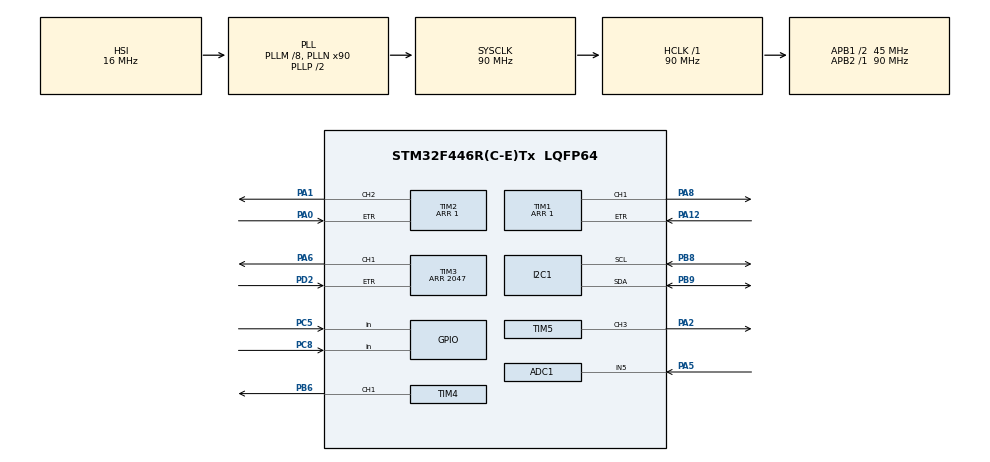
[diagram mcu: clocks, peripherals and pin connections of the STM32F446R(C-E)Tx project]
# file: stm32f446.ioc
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ADC1.Channel-2\#ChannelRegularConversion=ADC_CHANNEL_5
ADC1.NbrOfConversionFlag=1
ADC1.Rank-2\#ChannelRegularConversion=1
ADC1.SamplingTime-2\#ChannelRegularConversion=ADC_SAMPLETIME_84CYCLES
ADC1.master=1
Mcu.Family=STM32F4
Mcu.Name=STM32F446R(C-E)Tx
Mcu.Package=LQFP64
NVIC.ADC_IRQn=true\:1\:0\:true\:false\:true\:true\:true\:true
NVIC.PriorityGroup=NVIC_PRIORITYGROUP_4
PA0-WKUP.Signal=S_TIM2_CH1_ETR
PA1.Signal=S_TIM2_CH2
PA12.Signal=S_TIM1_ETR
PA13.Mode=Serial_Wire
PA13.Signal=SYS_JTMS-SWDIO
PA14.Mode=Serial_Wire
PA14.Signal=SYS_JTCK-SWCLK
PA2.Signal=S_TIM5_CH3
PA5.Signal=ADCx_IN5
PA6.Signal=S_TIM3_CH1
PA8.Signal=S_TIM1_CH1
PB6.Signal=S_TIM4_CH1
PB8.GPIO_Pu=GPIO_PULLUP
PB8.Mode=I2C
PB8.Signal=I2C1_SCL
PB9.GPIO_Pu=GPIO_PULLUP
PB9.Mode=I2C
PB9.Signal=I2C1_SDA
PC5.GPIO_PuPd=GPIO_PULLUP
PC5.Signal=GPIO_Input
PC8.GPIO_PuPd=GPIO_PULLUP
PC8.Signal=GPIO_Input
PD2.Signal=S_TIM3_ETR
ProjectManager.HeapSize=0x200
ProjectManager.StackSize=0x400
ProjectManager.TargetToolchain=MDK-ARM V5
RCC.AHBFreq_Value=90000000
RCC.APB1CLKDivider=RCC_HCLK_DIV2
RCC.APB1Freq_Value=45000000
RCC.APB1TimFreq_Value=90000000
RCC.APB2Freq_Value=90000000
RCC.APB2TimFreq_Value=90000000
RCC.CortexFreq_Value=90000000
RCC.HCLKFreq_Value=90000000
RCC.PLLM=8
RCC.PLLN=90
RCC.SYSCLKFreq_VALUE=90000000
RCC.SYSCLKSource=RCC_SYSCLKSOURCE_PLLCLK
RCC.USBFreq_Value=90000000
RCC.VCOOutputFreq_Value=180000000
SH.ADCx_IN5.0=ADC1_IN5,IN5
SH.S_TIM1_CH1.0=TIM1_CH1,PWM Generation1 CH1
SH.S_TIM1_ETR.0=TIM1_ETR,ClockSourceETR_Mode2
SH.S_TIM2_CH1_ETR.0=TIM2_ETR,ClockSourceETR_Mode2
SH.S_TIM2_CH2.0=TIM2_CH2,PWM Generation2 CH2
SH.S_TIM3_CH1.0=TIM3_CH1,PWM Generation1 CH1
SH.S_TIM3_ETR.0=TIM3_ETR,ClockSourceETR_Mode2
SH.S_TIM4_CH1.0=TIM4_CH1,PWM Generation1 CH1
SH.S_TIM5_CH3.0=TIM5_CH3,PWM Generation3 CH3
TIM1.AutoReloadPreload=TIM_AUTORELOAD_PRELOAD_ENABLE
TIM1.Channel-PWM\ Generation1\ CH1=TIM_CHANNEL_1
TIM1.Channel-PWM\ Generation2\ CH2=TIM_CHANNEL_2
TIM1.ClockPolarity=TIM_CLOCKPOLARITY_INVERTED
TIM1.Period=1
TIM1.Pulse-PWM\ Generation1\ CH1=1
TIM2.AutoReloadPreload=TIM_AUTORELOAD_PRELOAD_ENABLE
TIM2.Channel-PWM\ Generation2\ CH2=TIM_CHANNEL_2
TIM2.Period=1
TIM2.Pulse-PWM\ Generation2\ CH2=1
TIM3.AutoReloadPreload=TIM_AUTORELOAD_PRELOAD_ENABLE
TIM3.Channel-PWM\ Generation1\ CH1=TIM_CHANNEL_1
TIM3.Period=2047
TIM3.Pulse-PWM\ Generation1\ CH1=2
TIM4.AutoReloadPreload=TIM_AUTORELOAD_PRELOAD_ENABLE
TIM4.Channel-PWM\ Generation1\ CH1=TIM_CHANNEL_1
TIM4.Period=45000
TIM4.Pulse-PWM\ Generation1\ CH1=13500
TIM5.AutoReloadPreload=TIM_AUTORELOAD_PRELOAD_ENABLE
TIM5.Channel-PWM\ Generation3\ CH3=TIM_CHANNEL_3
TIM5.Period=9999
TIM5.Pulse-PWM\ Generation3\ CH3=4999
VP_TIM4_VS_ClockSourceINT.Mode=Internal
VP_TIM5_VS_ClockSourceINT.Mode=Internal
board=custom

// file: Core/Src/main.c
/* USER CODE BEGIN Header */
/**
  ******************************************************************************
  * @file           : main.c
  * @brief          : Main program body
  ******************************************************************************
  * @attention
  *
  * <h2><center>&copy; Copyright (c) 2023 STMicroelectronics.
  * All rights reserved.</center></h2>
  *
  * This software component is licensed by ST under BSD 3-Clause license,
  * the "License"; You may not use this file except in compliance with the
  * License. You may obtain a copy of the License at:
  *                        opensource.org/licenses/BSD-3-Clause
  *
  ******************************************************************************
	A signal : timer 1 channel 1
	B signal : timer 2 channel 2
	Z signal : timer 3 channel 1
	timer 5 channel 3 is clock source of timer 1,2,3
  */
/* USER CODE END Header */
#include "main.h"

/* USER CODE BEGIN Includes */
#include "CLCD_I2C.h"
#include <stdio.h>
#include <math.h>
#define CW	1												//clockwise direction
#define CCW 0												//counter-clockwise direction
#define run 1												// run state
#define stop 0											// stop state
/* USER CODE END Includes */

ADC_HandleTypeDef hadc1;

I2C_HandleTypeDef hi2c1;

TIM_HandleTypeDef htim1;
TIM_HandleTypeDef htim2;
TIM_HandleTypeDef htim3;
TIM_HandleTypeDef htim4;
TIM_HandleTypeDef htim5;

/* USER CODE BEGIN PV */
volatile uint32_t ADC_value;							 							// get ADC value
volatile uint8_t ADC_count;															// count ADC times
double pow_num = 0;																			// index number for convert ADC to cycle
double period_num = 0;																	// period number
double ADC_num = 0;																			// ADC number after filter
uint32_t cycle_num = 0;																	// cycle number

uint8_t sw1_bf_state = 0;																// switch 1 before state
uint8_t sw2_bf_state = 1;																// switch 2 before state
uint8_t direct = CW;																		// direction of rotation
uint8_t operat_state = stop;														// operation state
uint16_t mask_noninvert = 0x7FFF;												// mask non-invert clock polarity
uint16_t mask_invert 		= 0x8000;												// mask invert clock polarity

CLCD_I2C_Name LCD1;																			// init a LCD
uint32_t rpm = 0;																				// motor speed
float temp_rpm = 0;																			// motor speed tempoary
char Text_val[10];																			// string for lcd sending
uint8_t send_dir_lcd_flag = 1;													// send rotation direction to lcd flag
uint8_t send_sp_lcd_flag = 1;
/* USER CODE END PV */

void SystemClock_Config(void);
static void MX_GPIO_Init(void);
static void MX_ADC1_Init(void);
static void MX_TIM1_Init(void);
static void MX_TIM2_Init(void);
static void MX_TIM3_Init(void);
static void MX_TIM4_Init(void);
static void MX_TIM5_Init(void);
static void MX_I2C1_Init(void);

int main(void)
{

  /* MCU Configuration--------------------------------------------------------*/

  /* Reset of all peripherals, Initializes the Flash interface and the Systick. */
  HAL_Init();

  /* Configure the system clock */
  SystemClock_Config();

  /* Initialize all configured peripherals */
  MX_GPIO_Init();
  MX_ADC1_Init();
  MX_TIM1_Init();
  MX_TIM2_Init();
  MX_TIM3_Init();
  MX_TIM4_Init();
  MX_TIM5_Init();
  MX_I2C1_Init();
  /* USER CODE BEGIN 2 */
	//init LCD
	CLCD_I2C_Init(&LCD1,&hi2c1,0x4e,16,2);					// I2C adrress of LCD is 0x4e, if use another address, replace it.
	CLCD_I2C_Clear(&LCD1);
	CLCD_I2C_SetCursor(&LCD1, 0, 0);
	CLCD_I2C_WriteString(&LCD1,"DIR:");
	CLCD_I2C_SetCursor(&LCD1, 0, 1);
	CLCD_I2C_WriteString(&LCD1,"RPM:");

	// start timer, ADC
	//HAL_TIM_PWM_Start(&htim4,TIM_CHANNEL_1);
	HAL_TIM_PWM_Start(&htim1,TIM_CHANNEL_1);
	HAL_TIM_PWM_Start(&htim2,TIM_CHANNEL_2);
	HAL_TIM_PWM_Start(&htim3,TIM_CHANNEL_1);
	//HAL_TIM_PWM_Start(&htim5,TIM_CHANNEL_3);
	HAL_ADC_Start_IT(&hadc1);
  /* USER CODE END 2 */

  /* Infinite loop */
  while (1)
  {

    /* USER CODE BEGIN 3 */
		if (ADC_count == 20)
		  {
				 //get ADC valuie average (ADC filter)
				 ADC_num = (double)ADC_value/ADC_count;

				 // convert ADC value to period
				 //ADC_num = (double)ADC_value;
				 pow_num = ADC_num/298.5;
				 period_num = pow(2,(pow_num+7.63));
				 cycle_num = (uint32_t)period_num;
				 if(cycle_num >= 2636719)																									// up limit of cycle
					{
						cycle_num = 2636719;
					}
				 if(cycle_num <= 202)																											// down limit of cycle
					{
						cycle_num = 202;
					}

				 // set timer
				 __HAL_TIM_SetAutoreload(&htim5,cycle_num);																// set auto reload value of timer 5
				 __HAL_TIM_SetCompare(&htim5,TIM_CHANNEL_3,(cycle_num/2));								// set compare value of timer 5

				 // send lcd
				 //send rpm
				 if (operat_state == run)
				  {
						 temp_rpm = (90000000/(float)cycle_num/2/1024)*60;										// calculate rpm
						 rpm = (uint32_t)round(temp_rpm);																			// convert rpm from real number to integer number
						 sprintf(Text_val, "%d     ",rpm);																		// convert rpm number to text
						 CLCD_I2C_SetCursor(&LCD1, 6, 1);																			// set the position to write on lcd
						 CLCD_I2C_WriteString(&LCD1, Text_val);																// write rpm to lcd
					}
				 else if(send_sp_lcd_flag == 1)
							{
								CLCD_I2C_SetCursor(&LCD1, 6, 1);														// set the position to write on lcd
								CLCD_I2C_WriteString(&LCD1, "OFF     ");										// write rpm to lcd
								send_sp_lcd_flag = 0;
							}

				 //send direction
				 if ((direct == CW) && (send_dir_lcd_flag == 1))
				 {
					 CLCD_I2C_SetCursor(&LCD1, 6, 0);													// set the position to write on lcd
					 CLCD_I2C_WriteString(&LCD1, "CW ");											// write string "CW" to lcd
					 send_dir_lcd_flag = 0;																		// clear send lcd flag
				 }
				 else if ((direct == CCW) && (send_dir_lcd_flag == 1))
				 {
					 CLCD_I2C_SetCursor(&LCD1, 6, 0);													// set the position to write on lcd
					 CLCD_I2C_WriteString(&LCD1, "CCW");											// write string "CCW" to lcd
					 send_dir_lcd_flag = 0;																		// clear send lcd flag
				 }

				 ADC_count = 0;									// reset ADC count
				 ADC_value = 0;									// reset ADC_value
		  }

			//read switch
			//read switch 1 (encoder signal run/stop)
			if(HAL_GPIO_ReadPin(GPIOC, GPIO_PIN_8)==1)
				{
					if(sw1_bf_state == 0)
					{
							operat_state = run;																		// operating state is run
							HAL_TIM_PWM_Start(&htim5,TIM_CHANNEL_3);							// start timer 5
							HAL_TIM_PWM_Start(&htim4,TIM_CHANNEL_1);							// start timer 4
							sw1_bf_state = 1;																			// update switch 1 before state
					}
				}
			else
				{
					if(sw1_bf_state == 1)
					{
							operat_state = stop;																	// operating state is stop
							HAL_TIM_PWM_Stop(&htim5,TIM_CHANNEL_3);								// stop timer 5
							HAL_TIM_PWM_Stop(&htim4,TIM_CHANNEL_1);								// stop timer 4
							sw1_bf_state = 0;																			// update switch 1 before state
							send_sp_lcd_flag = 1;																	// allow send to lcd that speed is off
					}
				}

			//read switch 2 (rotation direction is clock wise (CW) or counter-clock wise (CCW))
			if(HAL_GPIO_ReadPin(GPIOC, GPIO_PIN_5)==1)
				{
					if(sw2_bf_state == 0)
					{
							direct = CW;																					//change direction
							HAL_TIM_PWM_Stop(&htim5,TIM_CHANNEL_3);								// stop timer 5
							HAL_TIM_PWM_Stop(&htim1,TIM_CHANNEL_1);								// stop timer 1
							HAL_TIM_PWM_Stop(&htim2,TIM_CHANNEL_2);								// stop timer 2
							HAL_TIM_PWM_Stop(&htim3,TIM_CHANNEL_1);								// stop timer 3
							htim1.Instance->SMCR |= mask_invert;									// set timer 3 clock polarity invert
							htim2.Instance->SMCR &= mask_noninvert;								// set timer 4 clock polarity noninvert
							htim1.Instance->CNT = 0x0001;													// reset counter value for timer 3
							htim2.Instance->CNT = 0x00000001;											// reset counter value for timer 4
							htim3.Instance->CNT = 0x07FF;													// reset counter value for timer 1
							htim5.Instance->CNT = 0x00000000;											// reset counter value for timer 2
							HAL_Delay(10);
							HAL_TIM_PWM_Start(&htim1,TIM_CHANNEL_1);							// start timer 1
							HAL_TIM_PWM_Start(&htim2,TIM_CHANNEL_2);							// start timer 2
							HAL_TIM_PWM_Start(&htim3,TIM_CHANNEL_1);							// start timer 3
							HAL_TIM_PWM_Start(&htim5,TIM_CHANNEL_3);							// start timer 5
							sw2_bf_state = 1;																			// update switch 2 before state
							send_dir_lcd_flag = 1;																// allow send direction to LCD
					}
				}
			else
				{
					if(sw2_bf_state == 1)
					{
							direct = CCW;																					//change direction
							HAL_TIM_PWM_Stop(&htim5,TIM_CHANNEL_3);								// stop timer 5
							HAL_TIM_PWM_Stop(&htim1,TIM_CHANNEL_1);								// stop timer 1
							HAL_TIM_PWM_Stop(&htim2,TIM_CHANNEL_2);								// stop timer 2
							HAL_TIM_PWM_Stop(&htim3,TIM_CHANNEL_1);								// stop timer 3
							htim1.Instance->SMCR &= mask_noninvert;								// set timer 3 clock polarity noninvert
							htim2.Instance->SMCR |= mask_invert;									// set timer 4 clock polarity invert
							htim1.Instance->CNT = 0x0001;													// reset counter value for timer 3
							htim2.Instance->CNT = 0x00000001;											// reset counter value for timer 4
							htim3.Instance->CNT = 0x07FF;													// reset counter value for timer 1
							htim5.Instance->CNT = 0x00000000;											// reset counter value for timer 2
							HAL_Delay(10);
							HAL_TIM_PWM_Start(&htim1,TIM_CHANNEL_1);							// start timer 1
							HAL_TIM_PWM_Start(&htim2,TIM_CHANNEL_2);							// start timer 2
							HAL_TIM_PWM_Start(&htim3,TIM_CHANNEL_1);							// start timer 3
							HAL_TIM_PWM_Start(&htim5,TIM_CHANNEL_3);							// start timer 5
							sw2_bf_state = 0;																			// update switch 2 before state
							send_dir_lcd_flag = 1;																// allow send direction to LCD
					}
				}

			HAL_Delay(5);																									// wait 5ms
			HAL_ADC_Start_IT(&hadc1);																			// start ADC 1 with interrupt mode
  }
  /* USER CODE END 3 */
}

void SystemClock_Config(void)
{
  RCC_OscInitTypeDef RCC_OscInitStruct = {0};
  RCC_ClkInitTypeDef RCC_ClkInitStruct = {0};

  /** Configure the main internal regulator output voltage
  */
  __HAL_RCC_PWR_CLK_ENABLE();
  __HAL_PWR_VOLTAGESCALING_CONFIG(PWR_REGULATOR_VOLTAGE_SCALE3);
  /** Initializes the RCC Oscillators according to the specified parameters
  * in the RCC_OscInitTypeDef structure.
  */
  RCC_OscInitStruct.OscillatorType = RCC_OSCILLATORTYPE_HSI;
  RCC_OscInitStruct.HSIState = RCC_HSI_ON;
  RCC_OscInitStruct.HSICalibrationValue = RCC_HSICALIBRATION_DEFAULT;
  RCC_OscInitStruct.PLL.PLLState = RCC_PLL_ON;
  RCC_OscInitStruct.PLL.PLLSource = RCC_PLLSOURCE_HSI;
  RCC_OscInitStruct.PLL.PLLM = 8;
  RCC_OscInitStruct.PLL.PLLN = 90;
  RCC_OscInitStruct.PLL.PLLP = RCC_PLLP_DIV2;
  RCC_OscInitStruct.PLL.PLLQ = 2;
  RCC_OscInitStruct.PLL.PLLR = 2;
  if (HAL_RCC_OscConfig(&RCC_OscInitStruct) != HAL_OK)
  {
    Error_Handler();
  }
  /** Initializes the CPU, AHB and APB buses clocks
  */
  RCC_ClkInitStruct.ClockType = RCC_CLOCKTYPE_HCLK|RCC_CLOCKTYPE_SYSCLK
                              |RCC_CLOCKTYPE_PCLK1|RCC_CLOCKTYPE_PCLK2;
  RCC_ClkInitStruct.SYSCLKSource = RCC_SYSCLKSOURCE_PLLCLK;
  RCC_ClkInitStruct.AHBCLKDivider = RCC_SYSCLK_DIV1;
  RCC_ClkInitStruct.APB1CLKDivider = RCC_HCLK_DIV2;
  RCC_ClkInitStruct.APB2CLKDivider = RCC_HCLK_DIV1;

  if (HAL_RCC_ClockConfig(&RCC_ClkInitStruct, FLASH_LATENCY_2) != HAL_OK)
  {
    Error_Handler();
  }
}

static void MX_ADC1_Init(void)
{

  ADC_ChannelConfTypeDef sConfig = {0};

  /** Configure the global features of the ADC (Clock, Resolution, Data Alignment and number of conversion)
  */
  hadc1.Instance = ADC1;
  hadc1.Init.ClockPrescaler = ADC_CLOCK_SYNC_PCLK_DIV4;
  hadc1.Init.Resolution = ADC_RESOLUTION_12B;
  hadc1.Init.ScanConvMode = DISABLE;
  hadc1.Init.ContinuousConvMode = DISABLE;
  hadc1.Init.DiscontinuousConvMode = DISABLE;
  hadc1.Init.ExternalTrigConvEdge = ADC_EXTERNALTRIGCONVEDGE_NONE;
  hadc1.Init.ExternalTrigConv = ADC_SOFTWARE_START;
  hadc1.Init.DataAlign = ADC_DATAALIGN_RIGHT;
  hadc1.Init.NbrOfConversion = 1;
  hadc1.Init.DMAContinuousRequests = DISABLE;
  hadc1.Init.EOCSelection = ADC_EOC_SINGLE_CONV;
  if (HAL_ADC_Init(&hadc1) != HAL_OK)
  {
    Error_Handler();
  }
  /** Configure for the selected ADC regular channel its corresponding rank in the sequencer and its sample time.
  */
  sConfig.Channel = ADC_CHANNEL_5;
  sConfig.Rank = 1;
  sConfig.SamplingTime = ADC_SAMPLETIME_84CYCLES;
  if (HAL_ADC_ConfigChannel(&hadc1, &sConfig) != HAL_OK)
  {
    Error_Handler();
  }

}

static void MX_I2C1_Init(void)
{

  hi2c1.Instance = I2C1;
  hi2c1.Init.ClockSpeed = 100000;
  hi2c1.Init.DutyCycle = I2C_DUTYCYCLE_2;
  hi2c1.Init.OwnAddress1 = 0;
  hi2c1.Init.AddressingMode = I2C_ADDRESSINGMODE_7BIT;
  hi2c1.Init.DualAddressMode = I2C_DUALADDRESS_DISABLE;
  hi2c1.Init.OwnAddress2 = 0;
  hi2c1.Init.GeneralCallMode = I2C_GENERALCALL_DISABLE;
  hi2c1.Init.NoStretchMode = I2C_NOSTRETCH_DISABLE;
  if (HAL_I2C_Init(&hi2c1) != HAL_OK)
  {
    Error_Handler();
  }

}

static void MX_TIM1_Init(void)
{

  TIM_ClockConfigTypeDef sClockSourceConfig = {0};
  TIM_MasterConfigTypeDef sMasterConfig = {0};
  TIM_OC_InitTypeDef sConfigOC = {0};
  TIM_BreakDeadTimeConfigTypeDef sBreakDeadTimeConfig = {0};

  htim1.Instance = TIM1;
  htim1.Init.Prescaler = 0;
  htim1.Init.CounterMode = TIM_COUNTERMODE_UP;
  htim1.Init.Period = 1;
  htim1.Init.ClockDivision = TIM_CLOCKDIVISION_DIV1;
  htim1.Init.RepetitionCounter = 0;
  htim1.Init.AutoReloadPreload = TIM_AUTORELOAD_PRELOAD_ENABLE;
  if (HAL_TIM_Base_Init(&htim1) != HAL_OK)
  {
    Error_Handler();
  }
  sClockSourceConfig.ClockSource = TIM_CLOCKSOURCE_ETRMODE2;
  sClockSourceConfig.ClockPolarity = TIM_CLOCKPOLARITY_INVERTED;
  sClockSourceConfig.ClockPrescaler = TIM_CLOCKPRESCALER_DIV1;
  sClockSourceConfig.ClockFilter = 0;
  if (HAL_TIM_ConfigClockSource(&htim1, &sClockSourceConfig) != HAL_OK)
  {
    Error_Handler();
  }
  if (HAL_TIM_PWM_Init(&htim1) != HAL_OK)
  {
    Error_Handler();
  }
  sMasterConfig.MasterOutputTrigger = TIM_TRGO_RESET;
  sMasterConfig.MasterSlaveMode = TIM_MASTERSLAVEMODE_DISABLE;
  if (HAL_TIMEx_MasterConfigSynchronization(&htim1, &sMasterConfig) != HAL_OK)
  {
    Error_Handler();
  }
  sConfigOC.OCMode = TIM_OCMODE_PWM1;
  sConfigOC.Pulse = 1;
  sConfigOC.OCPolarity = TIM_OCPOLARITY_HIGH;
  sConfigOC.OCNPolarity = TIM_OCNPOLARITY_HIGH;
  sConfigOC.OCFastMode = TIM_OCFAST_DISABLE;
  sConfigOC.OCIdleState = TIM_OCIDLESTATE_RESET;
  sConfigOC.OCNIdleState = TIM_OCNIDLESTATE_RESET;
  if (HAL_TIM_PWM_ConfigChannel(&htim1, &sConfigOC, TIM_CHANNEL_1) != HAL_OK)
  {
    Error_Handler();
  }
  sBreakDeadTimeConfig.OffStateRunMode = TIM_OSSR_DISABLE;
  sBreakDeadTimeConfig.OffStateIDLEMode = TIM_OSSI_DISABLE;
  sBreakDeadTimeConfig.LockLevel = TIM_LOCKLEVEL_OFF;
  sBreakDeadTimeConfig.DeadTime = 0;
  sBreakDeadTimeConfig.BreakState = TIM_BREAK_DISABLE;
  sBreakDeadTimeConfig.BreakPolarity = TIM_BREAKPOLARITY_HIGH;
  sBreakDeadTimeConfig.AutomaticOutput = TIM_AUTOMATICOUTPUT_DISABLE;
  if (HAL_TIMEx_ConfigBreakDeadTime(&htim1, &sBreakDeadTimeConfig) != HAL_OK)
  {
    Error_Handler();
  }
  HAL_TIM_MspPostInit(&htim1);

}

static void MX_TIM2_Init(void)
{

  TIM_ClockConfigTypeDef sClockSourceConfig = {0};
  TIM_MasterConfigTypeDef sMasterConfig = {0};
  TIM_OC_InitTypeDef sConfigOC = {0};

  htim2.Instance = TIM2;
  htim2.Init.Prescaler = 0;
  htim2.Init.CounterMode = TIM_COUNTERMODE_UP;
  htim2.Init.Period = 1;
  htim2.Init.ClockDivision = TIM_CLOCKDIVISION_DIV1;
  htim2.Init.AutoReloadPreload = TIM_AUTORELOAD_PRELOAD_ENABLE;
  if (HAL_TIM_Base_Init(&htim2) != HAL_OK)
  {
    Error_Handler();
  }
  sClockSourceConfig.ClockSource = TIM_CLOCKSOURCE_ETRMODE2;
  sClockSourceConfig.ClockPolarity = TIM_CLOCKPOLARITY_NONINVERTED;
  sClockSourceConfig.ClockPrescaler = TIM_CLOCKPRESCALER_DIV1;
  sClockSourceConfig.ClockFilter = 0;
  if (HAL_TIM_ConfigClockSource(&htim2, &sClockSourceConfig) != HAL_OK)
  {
    Error_Handler();
  }
  if (HAL_TIM_PWM_Init(&htim2) != HAL_OK)
  {
    Error_Handler();
  }
  sMasterConfig.MasterOutputTrigger = TIM_TRGO_RESET;
  sMasterConfig.MasterSlaveMode = TIM_MASTERSLAVEMODE_DISABLE;
  if (HAL_TIMEx_MasterConfigSynchronization(&htim2, &sMasterConfig) != HAL_OK)
  {
    Error_Handler();
  }
  sConfigOC.OCMode = TIM_OCMODE_PWM1;
  sConfigOC.Pulse = 1;
  sConfigOC.OCPolarity = TIM_OCPOLARITY_HIGH;
  sConfigOC.OCFastMode = TIM_OCFAST_DISABLE;
  if (HAL_TIM_PWM_ConfigChannel(&htim2, &sConfigOC, TIM_CHANNEL_2) != HAL_OK)
  {
    Error_Handler();
  }
  HAL_TIM_MspPostInit(&htim2);

}

static void MX_TIM3_Init(void)
{

  TIM_ClockConfigTypeDef sClockSourceConfig = {0};
  TIM_MasterConfigTypeDef sMasterConfig = {0};
  TIM_OC_InitTypeDef sConfigOC = {0};

  htim3.Instance = TIM3;
  htim3.Init.Prescaler = 0;
  htim3.Init.CounterMode = TIM_COUNTERMODE_UP;
  htim3.Init.Period = 2047;
  htim3.Init.ClockDivision = TIM_CLOCKDIVISION_DIV1;
  htim3.Init.AutoReloadPreload = TIM_AUTORELOAD_PRELOAD_ENABLE;
  if (HAL_TIM_Base_Init(&htim3) != HAL_OK)
  {
    Error_Handler();
  }
  sClockSourceConfig.ClockSource = TIM_CLOCKSOURCE_ETRMODE2;
  sClockSourceConfig.ClockPolarity = TIM_CLOCKPOLARITY_NONINVERTED;
  sClockSourceConfig.ClockPrescaler = TIM_CLOCKPRESCALER_DIV1;
  sClockSourceConfig.ClockFilter = 0;
  if (HAL_TIM_ConfigClockSource(&htim3, &sClockSourceConfig) != HAL_OK)
  {
    Error_Handler();
  }
  if (HAL_TIM_PWM_Init(&htim3) != HAL_OK)
  {
    Error_Handler();
  }
  sMasterConfig.MasterOutputTrigger = TIM_TRGO_RESET;
  sMasterConfig.MasterSlaveMode = TIM_MASTERSLAVEMODE_DISABLE;
  if (HAL_TIMEx_MasterConfigSynchronization(&htim3, &sMasterConfig) != HAL_OK)
  {
    Error_Handler();
  }
  sConfigOC.OCMode = TIM_OCMODE_PWM1;
  sConfigOC.Pulse = 2;
  sConfigOC.OCPolarity = TIM_OCPOLARITY_HIGH;
  sConfigOC.OCFastMode = TIM_OCFAST_DISABLE;
  if (HAL_TIM_PWM_ConfigChannel(&htim3, &sConfigOC, TIM_CHANNEL_1) != HAL_OK)
  {
    Error_Handler();
  }
  HAL_TIM_MspPostInit(&htim3);

}

static void MX_TIM4_Init(void)
{

  TIM_ClockConfigTypeDef sClockSourceConfig = {0};
  TIM_MasterConfigTypeDef sMasterConfig = {0};
  TIM_OC_InitTypeDef sConfigOC = {0};

  htim4.Instance = TIM4;
  htim4.Init.Prescaler = 0;
  htim4.Init.CounterMode = TIM_COUNTERMODE_UP;
  htim4.Init.Period = 45000;
  htim4.Init.ClockDivision = TIM_CLOCKDIVISION_DIV1;
  htim4.Init.AutoReloadPreload = TIM_AUTORELOAD_PRELOAD_ENABLE;
  if (HAL_TIM_Base_Init(&htim4) != HAL_OK)
  {
    Error_Handler();
  }
  sClockSourceConfig.ClockSource = TIM_CLOCKSOURCE_INTERNAL;
  if (HAL_TIM_ConfigClockSource(&htim4, &sClockSourceConfig) != HAL_OK)
  {
    Error_Handler();
  }
  if (HAL_TIM_PWM_Init(&htim4) != HAL_OK)
  {
    Error_Handler();
  }
  sMasterConfig.MasterOutputTrigger = TIM_TRGO_RESET;
  sMasterConfig.MasterSlaveMode = TIM_MASTERSLAVEMODE_DISABLE;
  if (HAL_TIMEx_MasterConfigSynchronization(&htim4, &sMasterConfig) != HAL_OK)
  {
    Error_Handler();
  }
  sConfigOC.OCMode = TIM_OCMODE_PWM1;
  sConfigOC.Pulse = 13500;
  sConfigOC.OCPolarity = TIM_OCPOLARITY_HIGH;
  sConfigOC.OCFastMode = TIM_OCFAST_DISABLE;
  if (HAL_TIM_PWM_ConfigChannel(&htim4, &sConfigOC, TIM_CHANNEL_1) != HAL_OK)
  {
    Error_Handler();
  }
  HAL_TIM_MspPostInit(&htim4);

}

static void MX_TIM5_Init(void)
{

  TIM_ClockConfigTypeDef sClockSourceConfig = {0};
  TIM_MasterConfigTypeDef sMasterConfig = {0};
  TIM_OC_InitTypeDef sConfigOC = {0};

  htim5.Instance = TIM5;
  htim5.Init.Prescaler = 0;
  htim5.Init.CounterMode = TIM_COUNTERMODE_UP;
  htim5.Init.Period = 9999;
  htim5.Init.ClockDivision = TIM_CLOCKDIVISION_DIV1;
  htim5.Init.AutoReloadPreload = TIM_AUTORELOAD_PRELOAD_ENABLE;
  if (HAL_TIM_Base_Init(&htim5) != HAL_OK)
  {
    Error_Handler();
  }
  sClockSourceConfig.ClockSource = TIM_CLOCKSOURCE_INTERNAL;
  if (HAL_TIM_ConfigClockSource(&htim5, &sClockSourceConfig) != HAL_OK)
  {
    Error_Handler();
  }
  if (HAL_TIM_PWM_Init(&htim5) != HAL_OK)
  {
    Error_Handler();
  }
  sMasterConfig.MasterOutputTrigger = TIM_TRGO_RESET;
  sMasterConfig.MasterSlaveMode = TIM_MASTERSLAVEMODE_DISABLE;
  if (HAL_TIMEx_MasterConfigSynchronization(&htim5, &sMasterConfig) != HAL_OK)
  {
    Error_Handler();
  }
  sConfigOC.OCMode = TIM_OCMODE_PWM1;
  sConfigOC.Pulse = 4999;
  sConfigOC.OCPolarity = TIM_OCPOLARITY_HIGH;
  sConfigOC.OCFastMode = TIM_OCFAST_DISABLE;
  if (HAL_TIM_PWM_ConfigChannel(&htim5, &sConfigOC, TIM_CHANNEL_3) != HAL_OK)
  {
    Error_Handler();
  }
  HAL_TIM_MspPostInit(&htim5);

}

static void MX_GPIO_Init(void)
{
  GPIO_InitTypeDef GPIO_InitStruct = {0};

  /* GPIO Ports Clock Enable */
  __HAL_RCC_GPIOA_CLK_ENABLE();
  __HAL_RCC_GPIOC_CLK_ENABLE();
  __HAL_RCC_GPIOD_CLK_ENABLE();
  __HAL_RCC_GPIOB_CLK_ENABLE();

  /*Configure GPIO pins : PC5 PC8 */
  GPIO_InitStruct.Pin = GPIO_PIN_5|GPIO_PIN_8;
  GPIO_InitStruct.Mode = GPIO_MODE_INPUT;
  GPIO_InitStruct.Pull = GPIO_PULLUP;
  HAL_GPIO_Init(GPIOC, &GPIO_InitStruct);

}

/* USER CODE BEGIN 4 */
// ADC ISR
void HAL_ADC_ConvCpltCallback(ADC_HandleTypeDef* hadc)
{
 if(hadc->Instance == hadc1.Instance) // ki?m tra ADC nаo gвy ra ng?t
 {
	 ADC_count++;
   ADC_value += (uint32_t)HAL_ADC_GetValue(&hadc1);
	 HAL_ADC_Stop_IT(&hadc1);
 }
}
/* USER CODE END 4 */

void Error_Handler(void)
{
  __disable_irq();
  while (1)
  {
  }
}

/************************ (C) COPYRIGHT STMicroelectronics *****END OF FILE****/
